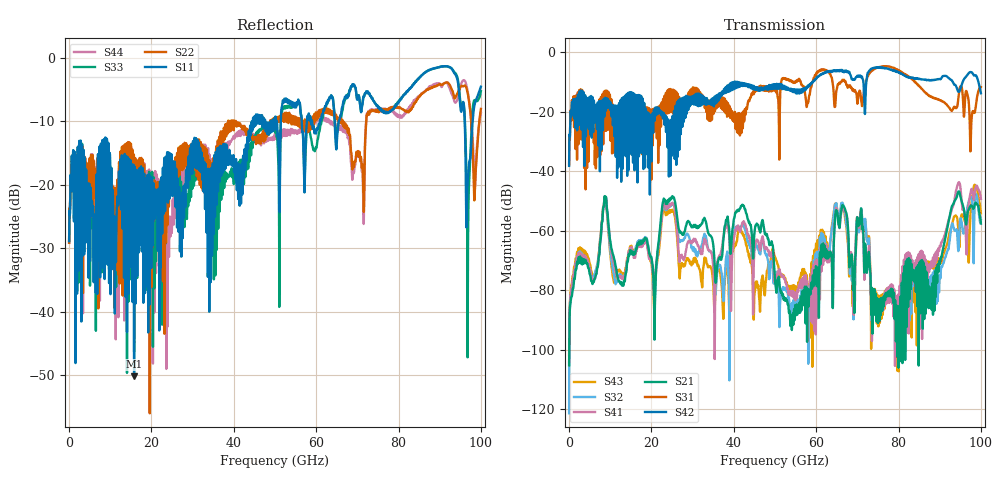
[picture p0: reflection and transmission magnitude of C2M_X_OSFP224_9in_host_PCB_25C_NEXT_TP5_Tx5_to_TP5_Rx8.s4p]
# GHz S RI R 45
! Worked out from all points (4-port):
!   4000 points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, 25 MHz to 100 GHz, reference 45 ohm
!   strongest paths, dB at 25 MHz, 25.02 GHz, 50.02 GHz, 75.03 GHz, 100 GHz:
!     S42: -38.2, -25.6, -11.0, -5.2, -13.7
!     S31: -37.7, -14.6, -12.1, -5.0, -11.6
!     S21: -105.3, -48.6, -77.1, -89.9, -57.6
!     S41: -104.3, -50.8, -76.6, -85.2, -49.3
!     S32: -121.4, -50.9, -74.7, -86.6, -56.4
!     S43: -101.8, -53.1, -68.9, -84.8, -54.1
!   lowest |S11| = -50.2 dB at 15.8 GHz (marker M1), VSWR 1.01, Z = 44.9 - j0.236 ohm
!   |S11| at or under -10 dB: start of sweep to 44.63 GHz; 59.03 GHz to 60.91 GHz (1.884 GHz wide, 3.14 % of centre); 96.08 GHz to 98 GHz (1.927 GHz wide, 1.99 % of centre)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
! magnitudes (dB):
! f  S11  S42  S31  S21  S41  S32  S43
! 25 MHz  -28.9  -38.2  -37.7  -105.3  -104.3  -121.4  -101.8
! 15.8 GHz  -50.2  -16.1  -21.1  -67.7  -68.9  -67.4  -67.7
! 42.12 GHz  -20.9  -11.2  -23.4  -51.3  -57.2  -57.7  -60.8
! 58.1 GHz  -9.5  -11.4  -16.7  -83.4  -80.3  -91.5  -80.1
! 66.38 GHz  -7.7  -6.4  -9.2  -51.4  -52.3  -50.5  -51.6
! 79.72 GHz  -7.1  -6.4  -5.9  -101.8  -84.1  -83.5  -107.1
! 100 GHz  -4.6  -13.7  -11.6  -57.6  -49.3  -56.4  -54.1
